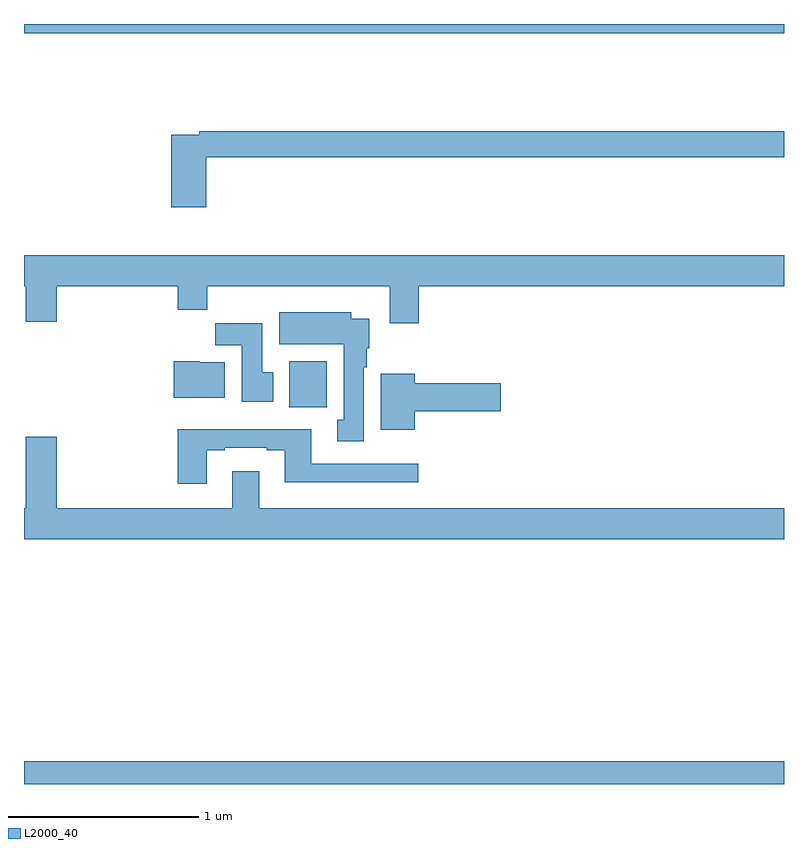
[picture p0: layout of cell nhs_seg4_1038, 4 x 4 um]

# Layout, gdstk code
import gdstk
lib = gdstk.Library(unit=1e-6, precision=1e-09)
def R(c, l, rs):  # rectangles x0, y0, x1, y1
    for r in rs: c.add(gdstk.rectangle(r[:2], r[2:], *l))
def P(c, l, *ps):  # polygons
    for p in ps: c.add(gdstk.Polygon(p, *l))
L2000_40 = (2000, 40)

nhs_seg4_1038 = lib.new_cell('nhs_seg4_1038')
R(nhs_seg4_1038, L2000_40, [(165,760.9,169,761.02), (166.397,762.884,166.594,763.126), (165,764.852,169,764.9)])
P(nhs_seg4_1038, L2000_40, [(165.959,764.2),(169,764.2),(169,764.336),(165.922,764.336),(165.922,764.316),(165.776,764.316),(165.776,763.935),(165.959,763.935)],
  [(167.078,763.52),(169,763.52),(169,763.684),(165,763.684),(165,763.52),(165.008,763.52),(165.008,763.332),(165.172,763.332),(165.172,763.52),(165.809,763.52),(165.809,763.396),(165.965,763.396),(165.965,763.52),(166.925,763.52),(166.925,763.326),(167.078,763.326)],
  [(166.789,763.094),(166.804,763.094),(166.804,763.194),(166.816,763.194),(166.816,763.348),(166.723,763.348),(166.723,763.384),(166.343,763.384),(166.343,763.214),(166.682,763.214),(166.682,762.818),(166.649,762.818),(166.649,762.705),(166.789,762.705)],
  [(166.312,763.068),(166.255,763.068),(166.255,763.326),(166.006,763.326),(166.006,763.208),(166.145,763.208),(166.145,762.912),(166.312,762.912)],
  [(166.057,763.12),(165.924,763.12),(165.924,763.126),(165.788,763.126),(165.788,762.932),(166.057,762.932)],
  [(167.056,762.863),(167.509,762.863),(167.509,763.01),(167.056,763.01),(167.056,763.06),(166.877,763.06),(166.877,762.764),(167.056,762.764)],
  [(165.961,762.657),(166.057,762.657),(166.057,762.669),(166.277,762.669),(166.277,762.657),(166.373,762.657),(166.373,762.488),(167.074,762.488),(167.074,762.585),(166.513,762.585),(166.513,762.766),(165.809,762.766),(165.809,762.48),(165.961,762.48)],
  [(169,762.352),(166.237,762.352),(166.237,762.547),(166.097,762.547),(166.097,762.352),(165.172,762.352),(165.172,762.727),(165.008,762.727),(165.008,762.352),(165,762.352),(165,762.188),(169,762.188)])

lib.write_gds('nhs_seg4_1038.gds')
